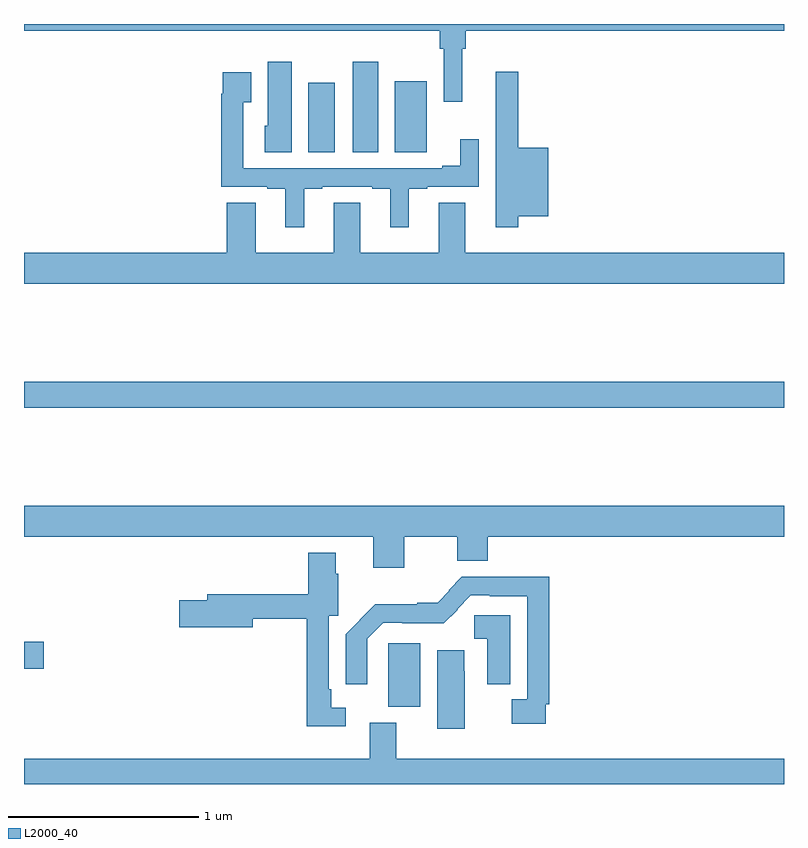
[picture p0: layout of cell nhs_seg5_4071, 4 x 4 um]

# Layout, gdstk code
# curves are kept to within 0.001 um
import gdstk
lib = gdstk.Library(unit=1e-6, precision=1e-09)
def R(c, l, rs):  # rectangles x0, y0, x1, y1
    for r in rs: c.add(gdstk.rectangle(r[:2], r[2:], *l))
def P(c, l, *ps):  # polygons
    for p in ps: c.add(gdstk.Polygon(p, *l))
L2000_40 = (2000, 40)

nhs_seg5_4071 = lib.new_cell('nhs_seg5_4071')
R(nhs_seg5_4071, L2000_40, [(352.916,849.206,353.086,849.54), (351,849.406,351.103,849.548), (351,850.78,355,850.916), (352.496,852.124,352.636,852.49), (352.73,852.124,352.864,852.601), (352.952,852.124,353.119,852.499)])
P(nhs_seg5_4071, L2000_40, [(353.306,852.668),(353.324,852.668),(353.324,852.764),(355,852.764),(355,852.799),(351,852.799),(351,852.764),(353.188,852.764),(353.188,852.668),(353.208,852.668),(353.208,852.39),(353.306,852.39)],
  [(352.408,852.601),(352.283,852.601),(352.283,852.264),(352.268,852.264),(352.268,852.124),(352.408,852.124)],
  [(353.6,851.786),(353.758,851.786),(353.758,852.148),(353.6,852.148),(353.6,852.547),(353.483,852.547),(353.483,852.244),(353.484,852.244),(353.484,851.73),(353.6,851.73)],
  [(352.474,851.931),(352.57,851.931),(352.57,851.943),(352.832,851.943),(352.832,851.931),(352.928,851.931),(352.928,851.73),(353.026,851.73),(353.026,851.931),(353.122,851.931),(353.122,851.943),(353.394,851.943),(353.394,852.193),(353.297,852.193),(353.297,852.052),(353.201,852.052),(353.201,852.039),(352.155,852.039),(352.155,852.388),(352.195,852.388),(352.195,852.544),(352.047,852.544),(352.047,852.431),(352.039,852.431),(352.039,851.943),(352.28,851.943),(352.28,851.931),(352.376,851.931),(352.376,851.73),(352.474,851.73)],
  [(355,851.596),(353.323,851.596),(353.323,851.858),(353.183,851.858),(353.183,851.596),(352.771,851.596),(352.771,851.858),(352.631,851.858),(352.631,851.596),(352.219,851.596),(352.219,851.858),(352.067,851.858),(352.067,851.596),(351,851.596),(351,851.432),(355,851.432)],
  [(353.002,850.1),(353.279,850.1),(353.279,849.974),(353.44,849.974),(353.44,850.1),(355,850.1),(355,850.264),(351,850.264),(351,850.1),(352.838,850.1),(352.838,849.936),(353.002,849.936)],
  [(352.693,849.201),(352.617,849.201),(352.617,849.298),(352.605,849.298),(352.605,849.684),(352.655,849.684),(352.655,849.905),(352.642,849.905),(352.642,850.015),(352.496,850.015),(352.496,849.799),(351.965,849.799),(351.965,849.765),(351.816,849.765),(351.816,849.623),(352.204,849.623),(352.204,849.67),(352.489,849.67),(352.489,849.104),(352.693,849.104)],
  [(353.745,849.22),(353.765,849.22),(353.765,849.889),(353.305,849.889),(353.235,849.819),(353.239,849.815),(353.177,849.753),(353.069,849.753),(353.069,849.745),(352.849,849.745),(352.694,849.588),(352.694,849.324),(352.806,849.324),(352.806,849.564),(352.89,849.648),(352.99,849.648),(352.99,849.644),(353.209,849.644),(353.283,849.717),(353.28,849.72),(353.352,849.792),(353.452,849.792),(353.452,849.788),(353.649,849.788),(353.649,849.244),(353.566,849.244),(353.566,849.116),(353.745,849.116)],
  [(353.56,849.686),(353.371,849.686),(353.371,849.563),(353.438,849.563),(353.438,849.325),(353.56,849.325)],
  [(353.32,849.392),(353.316,849.392),(353.316,849.503),(353.174,849.503),(353.174,849.09),(353.32,849.09)],
  [(355,848.932),(352.96,848.932),(352.96,849.121),(352.82,849.121),(352.82,848.932),(351,848.932),(351,848.799),(355,848.799)])

lib.write_gds('nhs_seg5_4071.gds')
